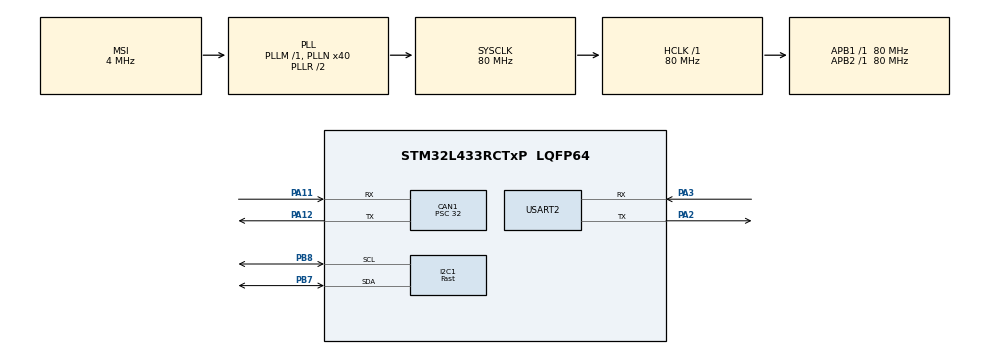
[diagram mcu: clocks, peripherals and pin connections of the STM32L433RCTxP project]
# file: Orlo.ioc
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CAN1.ABOM=ENABLE
CAN1.BS1=CAN_BS1_3TQ
CAN1.CalculateBaudRate=500000
CAN1.CalculateTimeBit=2000
CAN1.CalculateTimeQuantum=400.0
CAN1.NART=ENABLE
CAN1.Prescaler=32
CAN1.SJW=CAN_SJW_3TQ
I2C1.I2C_Speed_Mode=I2C_Fast
I2C1.Timing=0x00702991
Mcu.Family=STM32L4
Mcu.Name=STM32L433RCTxP
Mcu.Package=LQFP64
NVIC.CAN1_RX0_IRQn=true\:0\:0\:false\:false\:true\:true\:true\:true
NVIC.CAN1_TX_IRQn=true\:0\:0\:false\:false\:true\:true\:true\:true
NVIC.PriorityGroup=NVIC_PRIORITYGROUP_4
PA11.Mode=CAN_Activate
PA11.Signal=CAN1_RX
PA12.Mode=CAN_Activate
PA12.Signal=CAN1_TX
PA13\ (JTMS-SWDIO).Mode=Serial_Wire
PA13\ (JTMS-SWDIO).Signal=SYS_JTMS-SWDIO
PA14\ (JTCK-SWCLK).Mode=Serial_Wire
PA14\ (JTCK-SWCLK).Signal=SYS_JTCK-SWCLK
PA2.Mode=Asynchronous
PA2.Signal=USART2_TX
PA3.Mode=Asynchronous
PA3.Signal=USART2_RX
PB7.Mode=I2C
PB7.Signal=I2C1_SDA
PB8.Mode=I2C
PB8.Signal=I2C1_SCL
ProjectManager.HeapSize=0x200
ProjectManager.StackSize=0x400
ProjectManager.TargetToolchain=STM32CubeIDE
RCC.AHBFreq_Value=80000000
RCC.APB1Freq_Value=80000000
RCC.APB1TimFreq_Value=80000000
RCC.APB2Freq_Value=80000000
RCC.APB2TimFreq_Value=80000000
RCC.CortexFreq_Value=80000000
RCC.HCLKFreq_Value=80000000
RCC.HSE_VALUE=8000000
RCC.HSI48_VALUE=48000000
RCC.HSI_VALUE=16000000
RCC.LSE_VALUE=32768
RCC.MSI_VALUE=4000000
RCC.PLLN=40
RCC.SYSCLKFreq_VALUE=80000000
RCC.SYSCLKSource=RCC_SYSCLKSOURCE_PLLCLK
RCC.VCOOutputFreq_Value=160000000
USART2.VirtualMode-Asynchronous=VM_ASYNC
board=custom

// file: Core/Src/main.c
/* USER CODE BEGIN Header */
/**
  ******************************************************************************
  * @file           : main.c
  * @brief          : Main program body
  ******************************************************************************
  * @attention
  *
  * Copyright (c) 2024 STMicroelectronics.
  * All rights reserved.
  *
  * This software is licensed under terms that can be found in the LICENSE file
  * in the root directory of this software component.
  * If no LICENSE file comes with this software, it is provided AS-IS.
  *
  ******************************************************************************
  */
/* USER CODE END Header */
#include "main.h"
#include "can.h"
#include "i2c.h"
#include "usart.h"
#include "gpio.h"

/* USER CODE BEGIN Includes */
#include "stm32l4xx.h"
#include <string.h>
#include <stdio.h>

/* USER CODE END Includes */

/* USER CODE BEGIN PTD */
I2C_HandleTypeDef i2c;
UART_HandleTypeDef uart;
/* USER CODE END PTD */

/* USER CODE BEGIN PD */
#define AS5600_ADDRESS 0x6c //zdefiniowanie adresu I2C enkodera

/* USER CODE END PD */

/* USER CODE BEGIN PV */
extern CAN_HandleTypeDef 		hcan;
extern CAN_TxHeaderTypeDef 	TxHeader;
CAN_RxHeaderTypeDef	RxHeader;
extern uint8_t 				canData[4];
uint8_t 				RxData[8];
extern uint32_t              TxMailbox;

/* USER CODE END PV */

void SystemClock_Config(void);

int main(void)
{
  /* USER CODE BEGIN 1 */
	RxData[0]=0x01;
	uint8_t buffer[2]; //tablica o dwóch elementach, która jest używana do przechowywania danych odczytanych z enkodera AS5600, pierwszy element bufora przechowuje starsze bity danych, a drugi element przechowuje młodsze bity danych (
	float angle_degrees=0;
	HAL_StatusTypeDef status; //zmienna do sprawdzania czy sygnał z enkodera jest odbierany
  /* USER CODE END 1 */

  /* MCU Configuration--------------------------------------------------------*/

  /* Reset of all peripherals, Initializes the Flash interface and the Systick. */
  HAL_Init();

  /* Configure the system clock */
  SystemClock_Config();

  /* Initialize all configured peripherals */
  MX_GPIO_Init();
  MX_I2C1_Init();
  MX_USART2_UART_Init();
  MX_CAN1_Init();
  /* USER CODE BEGIN 2 */
  HAL_CAN_Start(&hcan);
  HAL_CAN_ActivateNotification(&hcan, CAN_IT_RX_FIFO0_MSG_PENDING);
  /* USER CODE END 2 */

  /* Infinite loop */
  while (1)
  {

    /* USER CODE BEGIN 3 */
	 status = HAL_I2C_Mem_Read(&hi2c1, 0x6c, 0x0C, I2C_MEMADD_SIZE_8BIT, buffer, 2, HAL_MAX_DELAY);

	   if (status == HAL_OK) //sprawdzanie czy sygnał z enkodera jest odbierany
	   {	float prev_angle_degress=angle_degrees;
	    	HAL_I2C_Mem_Read(&hi2c1, AS5600_ADDRESS, 0x0C, I2C_MEMADD_SIZE_8BIT, buffer, 2, HAL_MAX_DELAY); //odczytanie sygnału

	        uint16_t angle = ((uint16_t)buffer[0] << 8 | buffer[1]) & 0x0FFF; //wpisanie wiadomości do zmiennej angle (łączymy te dwa bajty, aby uzyskać 12-bitową wartość kąta)
	        angle_degrees = (((float)angle-305) * 360.0 / 4096.0)/3.4; //obliczenie wartości kątowej (wartość 305 - dostosowanie do poziomu 0, wartość 3.4 - przeskalowanie)

	        if (angle_degrees!=prev_angle_degress) //sprawdzenie czy wartość kątowa się zmieniła
	        {
	        	char msg[50];
	        	sprintf(msg, "Kat: %.2f stopni\r\n", angle_degrees);
	        	HAL_UART_Transmit(&huart2, (uint8_t *)msg, strlen(msg), HAL_MAX_DELAY);
	        }
	        //sprintf(msg, "Odczytana wartosc: %.2f \r\n", (float)angle);
	        //HAL_UART_Transmit(&huart2, (uint8_t *)msg, strlen(msg), HAL_MAX_DELAY);
	  }
	  else
	  {
	       	char msg[50];
	       	sprintf(msg, "Brak sygnalu...\r\n");

	       	HAL_UART_Transmit(&huart2, (uint8_t *)msg, strlen(msg), HAL_MAX_DELAY);
	       	HAL_Delay(500);

	  }

	   // wysłanie wiadomości za pomocą CAN

	  // uint32_t angleEncoded = *(uint32_t*)&angle_degrees;

	  // canData[0] = (uint8_t)(angleEncoded & 0xFF);
	  // canData[1] = (uint8_t)((angleEncoded >> 8) & 0xFF);
	   //canData[2] = (uint8_t)((angleEncoded >> 16) & 0xFF);
	  // canData[3] = (uint8_t)((angleEncoded >> 24) & 0xFF);
  }

//  HAL_CAN_AddTxMessage(&hcan, &TxHeader, canData, &TxMailbox);

  /* USER CODE END 3 */
}

void SystemClock_Config(void)
{
  RCC_OscInitTypeDef RCC_OscInitStruct = {0};
  RCC_ClkInitTypeDef RCC_ClkInitStruct = {0};

  /** Configure the main internal regulator output voltage
  */
  if (HAL_PWREx_ControlVoltageScaling(PWR_REGULATOR_VOLTAGE_SCALE1) != HAL_OK)
  {
    Error_Handler();
  }

  /** Initializes the RCC Oscillators according to the specified parameters
  * in the RCC_OscInitTypeDef structure.
  */
  RCC_OscInitStruct.OscillatorType = RCC_OSCILLATORTYPE_MSI;
  RCC_OscInitStruct.MSIState = RCC_MSI_ON;
  RCC_OscInitStruct.MSICalibrationValue = 0;
  RCC_OscInitStruct.MSIClockRange = RCC_MSIRANGE_6;
  RCC_OscInitStruct.PLL.PLLState = RCC_PLL_ON;
  RCC_OscInitStruct.PLL.PLLSource = RCC_PLLSOURCE_MSI;
  RCC_OscInitStruct.PLL.PLLM = 1;
  RCC_OscInitStruct.PLL.PLLN = 40;
  RCC_OscInitStruct.PLL.PLLP = RCC_PLLP_DIV7;
  RCC_OscInitStruct.PLL.PLLQ = RCC_PLLQ_DIV2;
  RCC_OscInitStruct.PLL.PLLR = RCC_PLLR_DIV2;
  if (HAL_RCC_OscConfig(&RCC_OscInitStruct) != HAL_OK)
  {
    Error_Handler();
  }

  /** Initializes the CPU, AHB and APB buses clocks
  */
  RCC_ClkInitStruct.ClockType = RCC_CLOCKTYPE_HCLK|RCC_CLOCKTYPE_SYSCLK
                              |RCC_CLOCKTYPE_PCLK1|RCC_CLOCKTYPE_PCLK2;
  RCC_ClkInitStruct.SYSCLKSource = RCC_SYSCLKSOURCE_PLLCLK;
  RCC_ClkInitStruct.AHBCLKDivider = RCC_SYSCLK_DIV1;
  RCC_ClkInitStruct.APB1CLKDivider = RCC_HCLK_DIV1;
  RCC_ClkInitStruct.APB2CLKDivider = RCC_HCLK_DIV1;

  if (HAL_RCC_ClockConfig(&RCC_ClkInitStruct, FLASH_LATENCY_4) != HAL_OK)
  {
    Error_Handler();
  }
}

/* USER CODE BEGIN 4 */
void HAL_CAN_RxFifo0MsgPendingCallback(CAN_HandleTypeDef *hcan) //przerwanie CAN
{
    if (HAL_CAN_GetRxMessage(hcan, CAN_RX_FIFO0, &RxHeader, RxData) != HAL_OK)
    {
        Error_Handler();
    }

    if (RxHeader.DLC == 1 && RxData[0] == 0x01) // żądanie wysłania wartości kątowej z enkodera to 1 bajt o wartości 0x01
    {
        uint8_t buffer[2];
        float angle_degrees = 0;
        HAL_StatusTypeDef status;
        status = HAL_I2C_Mem_Read(&hi2c1, 0x6c, 0x0C, I2C_MEMADD_SIZE_8BIT, buffer, 2, HAL_MAX_DELAY);

        if (status == HAL_OK)
        {
            uint16_t angle = ((uint16_t)buffer[0] << 8 | buffer[1]) & 0x0FFF;
            angle_degrees = (((float)angle - 305) * 360.0 / 4096.0) / 3.4;

            uint32_t angleEncoded = *(uint32_t*)&angle_degrees;
            canData[0] = (uint8_t)(angleEncoded & 0xFF);
            canData[1] = (uint8_t)((angleEncoded >> 8) & 0xFF);
            canData[2] = (uint8_t)((angleEncoded >> 16) & 0xFF);
            canData[3] = (uint8_t)((angleEncoded >> 24) & 0xFF);

            if (HAL_CAN_AddTxMessage(hcan, &TxHeader, canData, &TxMailbox) != HAL_OK)
            {
                Error_Handler();
            }
        }
    }
}

/* USER CODE END 4 */

void Error_Handler(void)
{
  __disable_irq();
  while (1)
  {
  }
}
